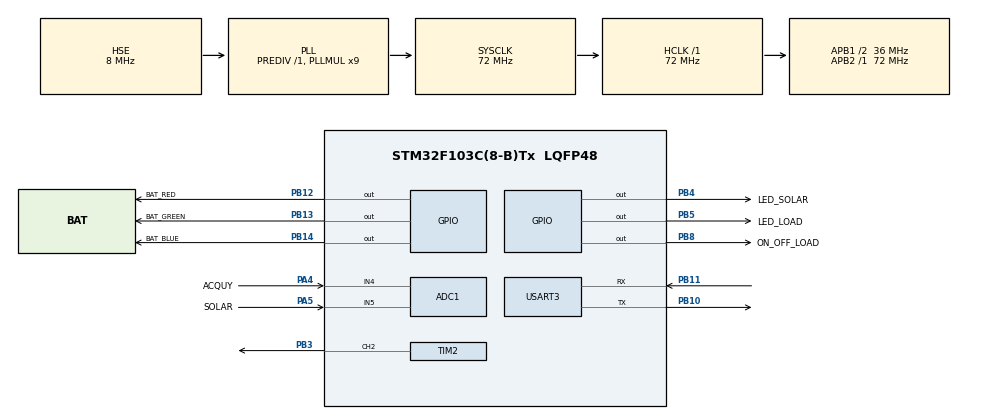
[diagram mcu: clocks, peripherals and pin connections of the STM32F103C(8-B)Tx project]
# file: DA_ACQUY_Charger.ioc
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ADC1.Channel-0\#ChannelRegularConversion=ADC_CHANNEL_4
ADC1.Channel-1\#ChannelRegularConversion=ADC_CHANNEL_5
ADC1.NbrOfConversion=2
ADC1.NbrOfConversionFlag=1
ADC1.Rank-0\#ChannelRegularConversion=1
ADC1.Rank-1\#ChannelRegularConversion=2
ADC1.SamplingTime-0\#ChannelRegularConversion=ADC_SAMPLETIME_239CYCLES_5
ADC1.SamplingTime-1\#ChannelRegularConversion=ADC_SAMPLETIME_239CYCLES_5
ADC1.master=1
Dma.ADC1.0.Direction=DMA_PERIPH_TO_MEMORY
Dma.ADC1.0.Instance=DMA1_Channel1
Dma.ADC1.0.MemDataAlignment=DMA_MDATAALIGN_HALFWORD
Dma.ADC1.0.MemInc=DMA_MINC_ENABLE
Dma.ADC1.0.Mode=DMA_CIRCULAR
Dma.ADC1.0.PeriphDataAlignment=DMA_PDATAALIGN_HALFWORD
Dma.ADC1.0.PeriphInc=DMA_PINC_DISABLE
Dma.ADC1.0.Priority=DMA_PRIORITY_HIGH
Dma.Request0=ADC1
Mcu.Family=STM32F1
Mcu.Name=STM32F103C(8-B)Tx
Mcu.Package=LQFP48
NVIC.DMA1_Channel1_IRQn=true\:0\:0\:false\:false\:true\:false\:true
NVIC.PriorityGroup=NVIC_PRIORITYGROUP_4
NVIC.TIM2_IRQn=true\:0\:0\:false\:false\:true\:true\:true
PA13.Mode=Serial_Wire
PA13.Signal=SYS_JTMS-SWDIO
PA14.Mode=Serial_Wire
PA14.Signal=SYS_JTCK-SWCLK
PA4.GPIO_Label=ACQUY
PA4.Signal=ADCx_IN4
PA5.GPIO_Label=SOLAR
PA5.Signal=ADCx_IN5
PB10.Mode=Asynchronous
PB10.Signal=USART3_TX
PB11.Mode=Asynchronous
PB11.Signal=USART3_RX
PB12.GPIO_Label=BAT_RED
PB12.GPIO_Speed=GPIO_SPEED_FREQ_HIGH
PB12.PinState=GPIO_PIN_SET
PB12.Signal=GPIO_Output
PB13.GPIO_Label=BAT_GREEN
PB13.GPIO_Speed=GPIO_SPEED_FREQ_HIGH
PB13.PinState=GPIO_PIN_SET
PB13.Signal=GPIO_Output
PB14.GPIO_Label=BAT_BLUE
PB14.GPIO_Speed=GPIO_SPEED_FREQ_HIGH
PB14.PinState=GPIO_PIN_SET
PB14.Signal=GPIO_Output
PB3.Signal=S_TIM2_CH2
PB4.GPIO_Label=LED_SOLAR
PB4.GPIO_Speed=GPIO_SPEED_FREQ_HIGH
PB4.PinState=GPIO_PIN_RESET
PB4.Signal=GPIO_Output
PB5.GPIO_Label=LED_LOAD
PB5.GPIO_Speed=GPIO_SPEED_FREQ_HIGH
PB5.PinState=GPIO_PIN_SET
PB5.Signal=GPIO_Output
PB8.GPIO_Label=ON_OFF_LOAD
PB8.GPIO_Speed=GPIO_SPEED_FREQ_HIGH
PB8.PinState=GPIO_PIN_RESET
PB8.Signal=GPIO_Output
PD0-OSC_IN.Mode=HSE-External-Oscillator
PD0-OSC_IN.Signal=RCC_OSC_IN
PD1-OSC_OUT.Mode=HSE-External-Oscillator
PD1-OSC_OUT.Signal=RCC_OSC_OUT
ProjectManager.HeapSize=0x200
ProjectManager.StackSize=0x400
ProjectManager.TargetToolchain=MDK-ARM V5
RCC.ADCPresc=RCC_ADCPCLK2_DIV6
RCC.AHBFreq_Value=72000000
RCC.APB1CLKDivider=RCC_HCLK_DIV2
RCC.APB1Freq_Value=36000000
RCC.APB1TimFreq_Value=72000000
RCC.APB2Freq_Value=72000000
RCC.APB2TimFreq_Value=72000000
RCC.HCLKFreq_Value=72000000
RCC.PLLMUL=RCC_PLL_MUL9
RCC.PLLSourceVirtual=RCC_PLLSOURCE_HSE
RCC.SYSCLKFreq_VALUE=72000000
RCC.SYSCLKSource=RCC_SYSCLKSOURCE_PLLCLK
RCC.USBFreq_Value=72000000
SH.ADCx_IN4.0=ADC1_IN4,IN4
SH.ADCx_IN5.0=ADC1_IN5,IN5
SH.S_TIM2_CH2.0=TIM2_CH2,PWM Generation2 CH2
TIM2.Channel-PWM\ Generation2\ CH2=TIM_CHANNEL_2
TIM2.Period=200
TIM2.Prescaler=720
USART3.VirtualMode=VM_ASYNC
board=custom

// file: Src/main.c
/* USER CODE BEGIN Header */
/**
  ******************************************************************************
  * @file           : main.c
  * @brief          : Main program body
  ******************************************************************************
  * @attention
  *
  * <h2><center>&copy; Copyright (c) 2019 STMicroelectronics.
  * All rights reserved.</center></h2>
  *
  * This software component is licensed by ST under BSD 3-Clause license,
  * the "License"; You may not use this file except in compliance with the
  * License. You may obtain a copy of the License at:
  *                        opensource.org/licenses/BSD-3-Clause
  *
  ******************************************************************************
  */
/* USER CODE END Header */

#include "main.h"

/* USER CODE BEGIN PD */
#define ACQUY_POSITION 0
#define SOLAR_POSITION 1
#define AVG_NUM 10
#define BAT_MIN 10.5
#define BAT_MAX 15.0
#define BULK_CH_SP 14.4
#define FLOAT_CH_SP 13.6
#define ACQUY_LOWER 11.5
/* USER CODE END PD */

ADC_HandleTypeDef hadc1;
DMA_HandleTypeDef hdma_adc1;

TIM_HandleTypeDef htim2;

UART_HandleTypeDef huart3;

void SystemClock_Config(void);
static void MX_GPIO_Init(void);
static void MX_DMA_Init(void);
static void MX_ADC1_Init(void);
static void MX_USART3_UART_Init(void);
static void MX_TIM2_Init(void);

/* USER CODE BEGIN 0 */
float t;
float acquyData = 0;
float solarData = 0;
float readAvrADC(uint32_t data)
{

  float sum = 0;
  float sample;
  for (uint32_t i=0; i<AVG_NUM; i++)
  {
    sample = (float)data;
    sum += sample;
    HAL_Delay(50);
  }
  return(sum / AVG_NUM);
}

float getVoltage(uint32_t data)
{
  return (readAvrADC(data)*0.0008*267/47);
}

void charger(float acquyVoltage, float solarVoltage)
{
  if (solarVoltage > acquyVoltage && acquyVoltage <= BULK_CH_SP)
  {

   if (acquyVoltage <= FLOAT_CH_SP)
  {
     htim2.Instance->CCR2 = 180;
  }
  else if (acquyVoltage >FLOAT_CH_SP && acquyVoltage <= BULK_CH_SP)
  {
      float temp  = (BULK_CH_SP - acquyVoltage);
      float dutyPercent = temp *100 ;

      if(dutyPercent < 0)
        {
         htim2.Instance->CCR2 = 0;
        }
      else if(dutyPercent > 100)
        {
         htim2.Instance->CCR2 = 180;
        }
      else if(dutyPercent > 0 && dutyPercent < 100)
        {
         htim2.Instance->CCR2 = (dutyPercent*255)/100;
        }
   }
 }
   else
   {
    htim2.Instance->CCR2 = 0;
   }
}

void load_control(float acquyVoltage, float solarVoltage)
{
  if(acquyVoltage > ACQUY_LOWER)
    {
      HAL_GPIO_WritePin(GPIOB, GPIO_PIN_8, GPIO_PIN_RESET); //ON
    }
  else if(acquyVoltage < ACQUY_LOWER)
  {
    HAL_GPIO_WritePin(GPIOB, GPIO_PIN_8, GPIO_PIN_SET); //OFF
  }
}
/* USER CODE END 0 */

int main(void)
{
  /* USER CODE BEGIN 1 */
  uint32_t vData[2] = {0};
  /* USER CODE END 1 */

  /* MCU Configuration--------------------------------------------------------*/

  /* Reset of all peripherals, Initializes the Flash interface and the Systick. */
  HAL_Init();

  /* Configure the system clock */
  SystemClock_Config();

  /* Initialize all configured peripherals */
  MX_GPIO_Init();
  MX_DMA_Init();
  MX_ADC1_Init();
  MX_USART3_UART_Init();
  MX_TIM2_Init();
  /* USER CODE BEGIN 2 */
  // -- Enables ADC and starts conversion of the regular channels.
 //  if( HAL_ADC_Start(&hadc1) != HAL_OK)
 //    return 0;
 //  if (HAL_ADC_Start_DMA(&hadc1, vData, sizeof(vData)) != HAL_OK)
 //    return 0;
	HAL_TIM_PWM_Start_IT(&htim2, TIM_CHANNEL_2);
//	htim2.Instance->CCR2 = 170;
  /* USER CODE END 2 */

  /* Infinite loop */
  while (1)
  {

    /* USER CODE BEGIN 3 */
//		HAL_ADC_Start_DMA(&hadc1, vData, sizeof(vData));
//		HAL_GPIO_WritePin(GPIOB, BAT_RED_Pin, GPIO_PIN_RESET);
//		HAL_GPIO_WritePin(GPIOB, BAT_GREEN_Pin, GPIO_PIN_RESET);
//		HAL_GPIO_WritePin(GPIOB, BAT_BLUE_Pin, GPIO_PIN_RESET);

		t = getVoltage(2971);
    HAL_ADC_Start_DMA(&hadc1, vData, sizeof(vData));
    acquyData = getVoltage(vData[ACQUY_POSITION]);
    solarData = getVoltage(vData[SOLAR_POSITION]);
    charger(acquyData, solarData);
		HAL_GPIO_TogglePin(GPIOB, GPIO_PIN_5);
		HAL_Delay(1000);

    /*
	for(i = 0; i < 200; i++)
		{
			htim2.Instance->CCR2 = i;
			HAL_Delay(25);
		}
	for( ; i > 0; --i)
		{
			htim2.Instance->CCR2 = i;
			HAL_Delay(25);
		}
	htim2.Instance->CCR2 = 0;
	HAL_Delay(2000);	*/
//	__HAL_TIM_SetCompare(&htim2, TIM_CHANNEL_2, 100);		// ERROR
  }
  /* USER CODE END 3 */
}

void SystemClock_Config(void)
{
  RCC_OscInitTypeDef RCC_OscInitStruct = {0};
  RCC_ClkInitTypeDef RCC_ClkInitStruct = {0};
  RCC_PeriphCLKInitTypeDef PeriphClkInit = {0};

  /** Initializes the CPU, AHB and APB busses clocks
  */
  RCC_OscInitStruct.OscillatorType = RCC_OSCILLATORTYPE_HSE;
  RCC_OscInitStruct.HSEState = RCC_HSE_ON;
  RCC_OscInitStruct.HSEPredivValue = RCC_HSE_PREDIV_DIV1;
  RCC_OscInitStruct.HSIState = RCC_HSI_ON;
  RCC_OscInitStruct.PLL.PLLState = RCC_PLL_ON;
  RCC_OscInitStruct.PLL.PLLSource = RCC_PLLSOURCE_HSE;
  RCC_OscInitStruct.PLL.PLLMUL = RCC_PLL_MUL9;
  if (HAL_RCC_OscConfig(&RCC_OscInitStruct) != HAL_OK)
  {
    Error_Handler();
  }
  /** Initializes the CPU, AHB and APB busses clocks
  */
  RCC_ClkInitStruct.ClockType = RCC_CLOCKTYPE_HCLK|RCC_CLOCKTYPE_SYSCLK
                              |RCC_CLOCKTYPE_PCLK1|RCC_CLOCKTYPE_PCLK2;
  RCC_ClkInitStruct.SYSCLKSource = RCC_SYSCLKSOURCE_PLLCLK;
  RCC_ClkInitStruct.AHBCLKDivider = RCC_SYSCLK_DIV1;
  RCC_ClkInitStruct.APB1CLKDivider = RCC_HCLK_DIV2;
  RCC_ClkInitStruct.APB2CLKDivider = RCC_HCLK_DIV1;

  if (HAL_RCC_ClockConfig(&RCC_ClkInitStruct, FLASH_LATENCY_2) != HAL_OK)
  {
    Error_Handler();
  }
  PeriphClkInit.PeriphClockSelection = RCC_PERIPHCLK_ADC;
  PeriphClkInit.AdcClockSelection = RCC_ADCPCLK2_DIV6;
  if (HAL_RCCEx_PeriphCLKConfig(&PeriphClkInit) != HAL_OK)
  {
    Error_Handler();
  }
}

static void MX_ADC1_Init(void)
{

  ADC_ChannelConfTypeDef sConfig = {0};

  /** Common config
  */
  hadc1.Instance = ADC1;
  hadc1.Init.ScanConvMode = ADC_SCAN_ENABLE;
  hadc1.Init.ContinuousConvMode = DISABLE;
  hadc1.Init.DiscontinuousConvMode = DISABLE;
  hadc1.Init.ExternalTrigConv = ADC_SOFTWARE_START;
  hadc1.Init.DataAlign = ADC_DATAALIGN_RIGHT;
  hadc1.Init.NbrOfConversion = 2;
  if (HAL_ADC_Init(&hadc1) != HAL_OK)
  {
    Error_Handler();
  }
  /** Configure Regular Channel
  */
  sConfig.Channel = ADC_CHANNEL_4;
  sConfig.Rank = ADC_REGULAR_RANK_1;
  sConfig.SamplingTime = ADC_SAMPLETIME_239CYCLES_5;
  if (HAL_ADC_ConfigChannel(&hadc1, &sConfig) != HAL_OK)
  {
    Error_Handler();
  }
  /** Configure Regular Channel
  */
  sConfig.Channel = ADC_CHANNEL_5;
  sConfig.Rank = ADC_REGULAR_RANK_2;
  if (HAL_ADC_ConfigChannel(&hadc1, &sConfig) != HAL_OK)
  {
    Error_Handler();
  }

}

static void MX_TIM2_Init(void)
{

  TIM_MasterConfigTypeDef sMasterConfig = {0};
  TIM_OC_InitTypeDef sConfigOC = {0};

  htim2.Instance = TIM2;
  htim2.Init.Prescaler = 720;
  htim2.Init.CounterMode = TIM_COUNTERMODE_UP;
  htim2.Init.Period = 200;
  htim2.Init.ClockDivision = TIM_CLOCKDIVISION_DIV1;
  htim2.Init.AutoReloadPreload = TIM_AUTORELOAD_PRELOAD_DISABLE;
  if (HAL_TIM_PWM_Init(&htim2) != HAL_OK)
  {
    Error_Handler();
  }
  sMasterConfig.MasterOutputTrigger = TIM_TRGO_RESET;
  sMasterConfig.MasterSlaveMode = TIM_MASTERSLAVEMODE_DISABLE;
  if (HAL_TIMEx_MasterConfigSynchronization(&htim2, &sMasterConfig) != HAL_OK)
  {
    Error_Handler();
  }
  sConfigOC.OCMode = TIM_OCMODE_PWM1;
  sConfigOC.Pulse = 0;
  sConfigOC.OCPolarity = TIM_OCPOLARITY_HIGH;
  sConfigOC.OCFastMode = TIM_OCFAST_DISABLE;
  if (HAL_TIM_PWM_ConfigChannel(&htim2, &sConfigOC, TIM_CHANNEL_2) != HAL_OK)
  {
    Error_Handler();
  }
  HAL_TIM_MspPostInit(&htim2);

}

static void MX_USART3_UART_Init(void)
{

  huart3.Instance = USART3;
  huart3.Init.BaudRate = 115200;
  huart3.Init.WordLength = UART_WORDLENGTH_8B;
  huart3.Init.StopBits = UART_STOPBITS_1;
  huart3.Init.Parity = UART_PARITY_NONE;
  huart3.Init.Mode = UART_MODE_TX_RX;
  huart3.Init.HwFlowCtl = UART_HWCONTROL_NONE;
  huart3.Init.OverSampling = UART_OVERSAMPLING_16;
  if (HAL_UART_Init(&huart3) != HAL_OK)
  {
    Error_Handler();
  }

}

static void MX_DMA_Init(void)
{
  /* DMA controller clock enable */
  __HAL_RCC_DMA1_CLK_ENABLE();

  /* DMA interrupt init */
  /* DMA1_Channel1_IRQn interrupt configuration */
  HAL_NVIC_SetPriority(DMA1_Channel1_IRQn, 0, 0);
  HAL_NVIC_EnableIRQ(DMA1_Channel1_IRQn);

}

static void MX_GPIO_Init(void)
{
  GPIO_InitTypeDef GPIO_InitStruct = {0};

  /* GPIO Ports Clock Enable */
  __HAL_RCC_GPIOD_CLK_ENABLE();
  __HAL_RCC_GPIOA_CLK_ENABLE();
  __HAL_RCC_GPIOB_CLK_ENABLE();

  /*Configure GPIO pin Output Level */
  HAL_GPIO_WritePin(GPIOB, BAT_RED_Pin|BAT_GREEN_Pin|BAT_BLUE_Pin|LED_LOAD_Pin, GPIO_PIN_SET);

  /*Configure GPIO pin Output Level */
  HAL_GPIO_WritePin(GPIOB, LED_SOLAR_Pin|ON_OFF_LOAD_Pin, GPIO_PIN_RESET);

  /*Configure GPIO pins : BAT_RED_Pin BAT_GREEN_Pin BAT_BLUE_Pin LED_SOLAR_Pin
                           LED_LOAD_Pin ON_OFF_LOAD_Pin */
  GPIO_InitStruct.Pin = BAT_RED_Pin|BAT_GREEN_Pin|BAT_BLUE_Pin|LED_SOLAR_Pin
                          |LED_LOAD_Pin|ON_OFF_LOAD_Pin;
  GPIO_InitStruct.Mode = GPIO_MODE_OUTPUT_PP;
  GPIO_InitStruct.Pull = GPIO_NOPULL;
  GPIO_InitStruct.Speed = GPIO_SPEED_FREQ_HIGH;
  HAL_GPIO_Init(GPIOB, &GPIO_InitStruct);

}

void Error_Handler(void)
{
}

/************************ (C) COPYRIGHT STMicroelectronics *****END OF FILE****/
